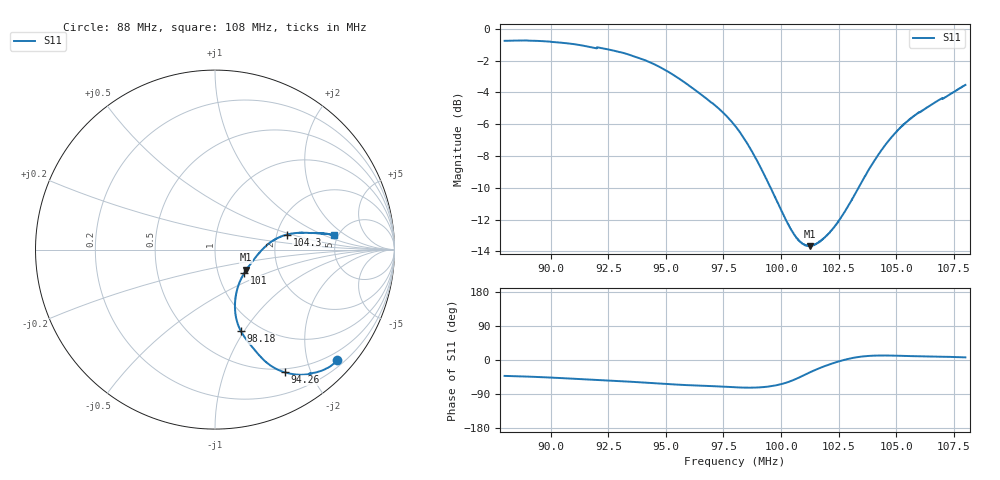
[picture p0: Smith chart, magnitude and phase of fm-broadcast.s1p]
! Calibrated averaged scanner-service zoom
# Hz S RI R 50
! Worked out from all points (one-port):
!   2001 points, 88 MHz to 108 MHz, reference 50 ohm
!   lowest |S11| = -13.7 dB at 101.2 MHz (marker M1), VSWR 1.52, Z = 69 - j16.1 ohm
!   |S11| at or under -10 dB: 99.54 MHz to 103.4 MHz (3.813 MHz wide, 3.76 % of centre)
!   S11 on the Smith chart (normalised r, x): 88 MHz: 0.34, -2.57; 94.26 MHz: 0.45, -1.63; 98.18 MHz: 0.82, -0.97; 101 MHz: 1.33, -0.36; 104.3 MHz: 2.27, +0.46; 108 MHz: 4.59, +1.33
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8.8e7  0.6813 -0.6124
8.892e7  0.6649 -0.6329
9.05e7  0.6056 -0.6699
9.19e7  0.5315 -0.6895
9.211e7  0.5289 -0.693
9.3e7  0.4757 -0.6972
9.426e7  0.3891 -0.6839
9.49e7  0.3412 -0.6645
9.55e7  0.2965 -0.6368
9.712e7  0.2038 -0.5379
9.8e7  0.1539 -0.4708
9.818e7  0.1436 -0.4539
9.878e7  0.1191 -0.3879
9.93e7  0.1116 -0.3258
9.992e7  0.1165 -0.2508
1.005e8  0.1357 -0.1846
1.0076e8  0.1474 -0.1582
1.0104e8  0.1629 -0.1303
1.0125e8  0.1745 -0.1119
1.0164e8  0.1977 -0.0807
1.021e8  0.2234 -0.0463
1.025e8  0.2479 -0.0162
1.03e8  0.2838 0.0197
1.0366e8  0.3398 0.0609
1.0429e8  0.4005 0.0839
1.0491e8  0.4571 0.0931
1.055e8  0.5046 0.0936
1.08e8  0.6611 0.0805
